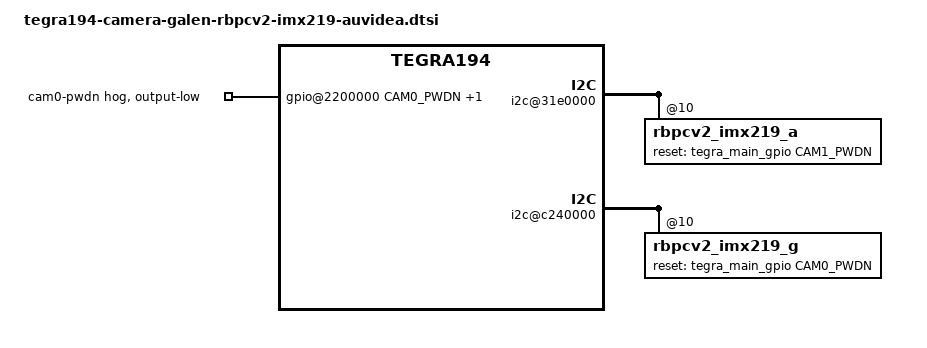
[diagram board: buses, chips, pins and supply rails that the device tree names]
/*
 * Copyright (c) 2018-2020, NVIDIA CORPORATION.  All rights reserved.
 *
 * This program is free software; you can redistribute it and/or modify
 * it under the terms of the GNU General Public License as published by
 * the Free Software Foundation; either version 2 of the License, or
 * (at your option) any later version.
 *
 * This program is distributed in the hope that it will be useful, but WITHOUT
 * ANY WARRANTY; without even the implied warranty of MERCHANTABILITY or
 * FITNESS FOR A PARTICULAR PURPOSE.  See the GNU General Public License for
 * more details.
 *
 * You should have received a copy of the GNU General Public License
 * along with this program.  If not, see <http://www.gnu.org/licenses/>.
 */

//new file created to support imx219 cameras on the auvidea X220/X221(fd)
#include <t19x-common-modules/tegra194-camera-rbpcv2-imx219-auvidea.dtsi>
#include "dt-bindings/clock/tegra194-clock.h"

/*#define CAM0_PWDN	TEGRA194_MAIN_GPIO(P, 4)
#define CAM1_PWDN	TEGRA194_MAIN_GPIO(P, 5)
#define CAM2_PWDN	TEGRA194_MAIN_GPIO(Q, 5)
#define CAM_I2C_MUX 	TEGRA194_AON_GPIO(CC, 3)*/

#define CAM0_RST_L	TEGRA194_MAIN_GPIO(H, 3)
#define CAM0_PWDN	TEGRA194_MAIN_GPIO(H, 6)
#define CAM1_RST_L	TEGRA194_MAIN_GPIO(T, 6)
#define CAM1_PWDN	TEGRA194_MAIN_GPIO(T, 5)
#define SLVS_CAM0_RST_L	TEGRA194_MAIN_GPIO(Y, 1)


/ {
	/delete-node/ cam_i2cmux;

	

	i2c@31e0000 {
		status="okay";
		rbpcv2_imx219_a@10 {
			status = "okay";
			reset-gpios = <&tegra_main_gpio CAM1_PWDN GPIO_ACTIVE_HIGH>;
		};
	};
	/*i2c@3180000 {
		status="okay";
		rbpcv2_imx219_c@10 {
			status = "okay";
			reset-gpios = <&tegra_main_gpio CAM1_PWDN GPIO_ACTIVE_HIGH>;
		};
	};*/

	i2c@c240000 {
		status="okay";
		rbpcv2_imx219_g@10 {
			status = "okay";
			reset-gpios = <&tegra_main_gpio CAM0_PWDN GPIO_ACTIVE_HIGH>;
		};
	};



	/*i2c@3160000 {
		status="okay";
		rbpcv2_imx219_c@10 {
			status = "okay";
			reset-gpios = <&tegra_main_gpio CAM2_PWDN GPIO_ACTIVE_HIGH>;
		};
	};*/


	/*pinmux@2430000 {
		pinmux_default: common {
			soc_gpio44_pr0 {
				nvidia,pins = "soc_gpio44_pr0";
				nvidia,function = "rsvd2";
				nvidia,pull = <TEGRA_PIN_PULL_UP>;
				nvidia,tristate = <TEGRA_PIN_DISABLE>;
				nvidia,enable-input = <TEGRA_PIN_DISABLE>;
				nvidia,io-high-voltage = <TEGRA_PIN_DISABLE>;
				nvidia,lpdr = <TEGRA_PIN_DISABLE>;
			};
		};
	};*/

	gpio@2200000 {
		/*camera-trigger-high {
			status = "okay";
			gpio-hog;
			output-high;
			gpios = <TEGRA194_MAIN_GPIO(R, 0) 0>;  //gpios = <&tegra_main_gpio TEGRA194_MAIN_GPIO(R, 0) 0>;
			label = "cam-trigger";
		};'*/
		camera-control-output-low {
			gpio-hog;
			output-low;
			gpios = <CAM0_PWDN 0 CAM1_PWDN 0/* CAM2_PWDN 0*/>;
			label = "cam0-pwdn", "cam1-pwdn"/*, "cam2-pwdn"*/;
		}; 
	};
};
